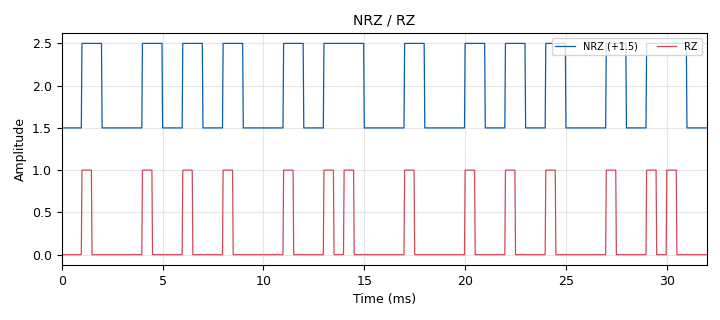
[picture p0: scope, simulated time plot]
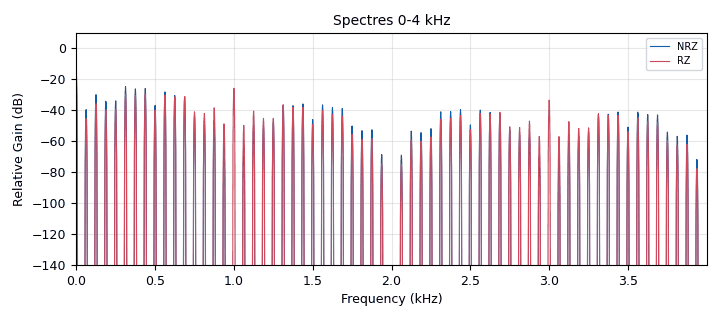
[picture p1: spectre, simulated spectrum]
options:
  parameters:
    author: Groupe 2 - SAE 5.01 NFC
    description: 'VII - Python Block : generation RZ'
    generate_options: qt_gui
    id: NRZ_RZ
    output_language: python
    title: NRZ vers RZ
  states: {}

blocks:
- name: N
  id: variable
  parameters:
    comment: Echantillons par bit
    value: int(samp_rate/clock)
  states: {}
- name: N_decimation
  id: variable
  parameters:
    comment: fobs = 4 kHz
    value: '4'
  states: {}
- name: Nb
  id: variable_qtgui_range
  parameters:
    comment: Nombre de bits aleatoires
    rangeType: int
    start: '8'
    step: '2'
    stop: '256'
    value: '16'
  states: {}
- name: SOF_tag
  id: variable_tag_object
  parameters:
    comment: Tag debut de trame
    key: pmt.intern("SOF")
    offset: '0'
    src: pmt.intern("vecsrc")
    value: pmt.from_long(0)
  states: {}
- name: clock
  id: variable
  parameters:
    comment: Horloge bits (Hz)
    value: '1000'
  states: {}
- name: samp_rate
  id: variable
  parameters:
    value: '32000'
  states: {}
- name: decim1
  id: fir_filter_xxx
  parameters:
    decim: N_decimation
    taps: '[1]'
    type: fff
  states: {}
- name: decim2
  id: fir_filter_xxx
  parameters:
    decim: N_decimation
    taps: '[1]'
    type: fff
  states: {}
- name: imp_np
  id: import
  parameters:
    imports: import numpy as np
  states: {}
- name: imp_pmt
  id: import
  parameters:
    imports: import pmt
  states: {}
- name: nrz2rz
  id: epy_block
  parameters:
    _source_code: |
      """
      Bloc Python : conversion NRZ -> RZ (Annexe C, partie VII)
      Entree 0 : signal NRZ
      Entree 1 : symbole '1' RZ repete  ([1]*N/2 + [0]*N/2)
      Entree 2 : symbole '0' RZ repete  ([0]*N)
      Sortie   : signal RZ
      """

      import numpy as np
      from gnuradio import gr


      class blk(gr.sync_block):

          def __init__(self, samp_rate=32000, clock=2000):
              gr.sync_block.__init__(
                  self,
                  name='NRZ to RZ',
                  in_sig=[np.float32, np.float32, np.float32],
                  out_sig=[np.float32]
              )
              self.samp_rate = samp_rate
              self.clock = clock

          def work(self, input_items, output_items):
              """NRZ to RZ"""
              for i in range(0, len(input_items[0])):
                  if input_items[0][i] == 1:
                      output_items[0][i] = input_items[1][i]
                  else:
                      output_items[0][i] = input_items[2][i]
              # output_items[0][:] = np.where(input_items[0] == 1, input_items[1], input_items[2])
              return len(output_items[0])
    clock: clock
    samp_rate: samp_rate
  states: {}
- name: offset
  id: blocks_add_const_vxx
  parameters:
    comment: Decalage vertical
    const: '1.5'
    type: float
  states: {}
- name: repeat
  id: blocks_repeat
  parameters:
    comment: 1 bit = N echantillons
    interp: N
    type: float
  states: {}
- name: scope
  id: qtgui_time_sink_x
  parameters:
    autoscale: 'True'
    grid: 'True'
    label1: '"NRZ (+1.5)"'
    label2: '"RZ"'
    name: '"NRZ / RZ"'
    nconnections: '2'
    size: '1024'
    srate: samp_rate
    tr_mode: qtgui.TRIG_MODE_TAG
    tr_tag: '"SOF"'
    type: float
  states: {}
- name: spectre
  id: qtgui_freq_sink_x
  parameters:
    bw: samp_rate/N_decimation
    fc: '0'
    fftsize: '4096'
    freqhalf: 'False'
    grid: 'True'
    label1: '"NRZ"'
    label2: '"RZ"'
    name: '"Spectres 0-4 kHz"'
    nconnections: '2'
    type: float
  states: {}
- name: sym0
  id: blocks_vector_source_x
  parameters:
    comment: Symbole '0' RZ
    repeat: 'True'
    type: float
    vector: '[0]*int(samp_rate/clock)'
  states: {}
- name: sym1
  id: blocks_vector_source_x
  parameters:
    comment: Symbole '1' RZ
    repeat: 'True'
    type: float
    vector: '[1]*int(samp_rate/clock/2) + [0]*int(samp_rate/clock/2)'
  states: {}
- name: throttle
  id: blocks_throttle2
  parameters:
    samples_per_second: samp_rate
    type: float
  states: {}
- name: vecsrc
  id: blocks_vector_source_x
  parameters:
    comment: Trame NRZ
    repeat: 'True'
    tags: '[SOF_tag]'
    type: float
    vector: np.random.randint(0,2,Nb).tolist()
  states: {}

connections:
- [decim1, '0', spectre, '0']
- [decim2, '0', spectre, '1']
- [nrz2rz, '0', decim2, '0']
- [nrz2rz, '0', scope, '1']
- [offset, '0', scope, '0']
- [repeat, '0', throttle, '0']
- [sym0, '0', nrz2rz, '2']
- [sym1, '0', nrz2rz, '1']
- [throttle, '0', decim1, '0']
- [throttle, '0', nrz2rz, '0']
- [throttle, '0', offset, '0']
- [vecsrc, '0', repeat, '0']

metadata:
  file_format: 1
  grc_version: 3.10.12.0
